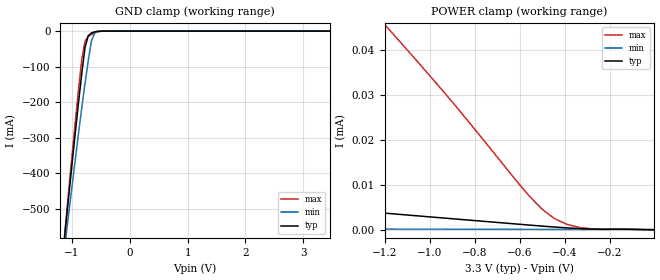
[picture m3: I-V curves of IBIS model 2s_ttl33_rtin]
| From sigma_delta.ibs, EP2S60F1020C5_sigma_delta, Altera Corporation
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[Model] 2s_ttl33_rtin
Model_type Input
Vinl  = 0.8
Vinh  = 1.7
C_comp  3.80pF  NA  NA
[Temperature Range]  25.000   85.000   0.000
[Voltage Range]   3.300   3.135   3.465
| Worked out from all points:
|   GND clamp passes 1 mA (typ) near -0.56 V on its own axis
[GND_Clamp]
| voltage   I(typ)   I(min)   I(max)
-3.3V     -4.274A    -3.731A    -4.589A
-1.16V    -632.2mA   -655.4mA   -630.7mA
-1.105V   -542.4mA   -579.6mA   -533mA
-1.05V    -453.8mA   -504.4mA   -436.6mA
-940mV    -281.5mA   -357.7mA   -250mA
-830mV    -118.1mA   -214.4mA   -78.09mA
-775mV    -45.95mA   -146.7mA   -28.06mA
-720mV    -13.15mA   -83.99mA   -15.97mA
-665mV    -5.445mA   -28.4mA    -9.469mA
-610mV    -2.223mA   -5.736mA   -4.763mA
-500mV    -221.3uA   -308uA     -563uA
3.455V    -5.842nA   2.263uA    -11.28nA
[POWER_Clamp]
|voltage   I(typ)   I(min)   I(max)
-3.3V     163.6uA    78.26uA    955.1uA
-3.105V   134.8uA    54.68uA    695.7uA
-2.91V    105.3uA    23.49uA    483.2uA
-2.715V   65.75uA    6.413uA    332.7uA
-2.52V    16.03uA    4.233uA    224.9uA
-2.325V   12.76uA    3.092uA    124.8uA
-1.74V    6.773uA    751nA      76.91uA
-1.16V    3.528uA    138.9nA    43.49uA
-555mV    1.02uA     76.29nA    7.345uA
-445mV    590.9nA    65.99nA    2.457uA
-280mV    135.3nA    51.02nA    179.7nA
-5mV      2.337nA    14.58nA    -62.17nA
